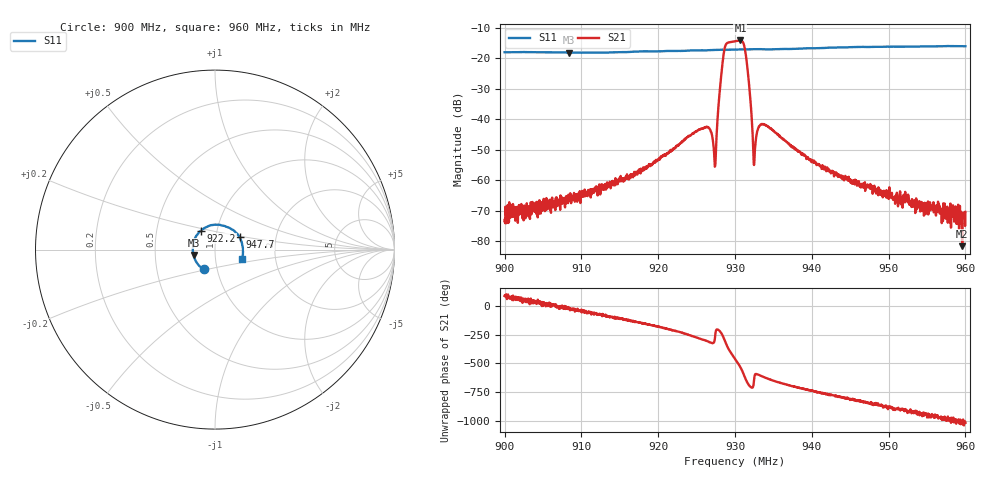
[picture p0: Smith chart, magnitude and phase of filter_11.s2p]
!Agilent Technologies,E5071C,MY46214392,A.11.36
!Date: Thu Feb 26 21:34:11 2026
!Data & Calibration Information:
!Freq	S11:NONE(--)	S21:NONE(--)	S12:NONE(--)	S22:NONE(--)
!PortZ  Port1:50+j0  Port2:50+j0
!Above PortZ is port z conversion or system Z0 setting when saving the data.
!When reading, reference impedance value at option line is always used.
# Hz S dB R 50
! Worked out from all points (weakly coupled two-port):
!   1601 points, 900 MHz to 960 MHz, reference 50 ohm
!   highest |S21| = -14.19 dB at 930.7 MHz (marker M1); lowest = -81.7 dB at 959.6 MHz (marker M2)
!   lowest |S11| = -18.2 dB at 908.4 MHz (marker M3), VSWR 1.28, Z = 39.3 - j2.41 ohm
!   |S11| at or under -10 dB: start of sweep to end of sweep
!   S12 and S22 are empty: the file has one direction only
!   S11 on the Smith chart (normalised r, x): 900 MHz: 0.86, -0.19; 922.2 MHz: 0.84, +0.18; 947.7 MHz: 1.30, +0.18; 960 MHz: 1.34, -0.14
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9e8  -18.06 -120.1  -73.50 88.4  -200.00 0.0  -200.00 0.0
9.084e8  -18.21 -165.8  -66.36 -26.9  -200.00 0.0  -200.00 0.0
9.100125e8  -18.19 -173.9  -65.11 -30.8  -200.00 0.0  -200.00 0.0
9.20025e8  -17.76 136.7  -53.22 -177.0  -200.00 0.0  -200.00 0.0
9.221625e8  -17.62 126.4  -49.63 145.7  -200.00 0.0  -200.00 0.0
9.262875e8  -17.44 108.5  -42.48 57.0  -200.00 0.0  -200.00 0.0
9.273375e8  -17.31 104.0  -53.25 56.4  -200.00 0.0  -200.00 0.0
9.275625e8  -17.29 103.0  -47.49 152.0  -200.00 0.0  -200.00 0.0
9.286125e8  -17.20 98.2  -17.25 67.4  -200.00 0.0  -200.00 0.0
9.29175e8  -17.23 95.8  -14.83 -16.4  -200.00 0.0  -200.00 0.0
9.3e8  -17.17 92.4  -14.45 -100.2  -200.00 0.0  -200.00 0.0
9.307125e8  -17.16 89.4  -14.19 -175.4  -200.00 0.0  -200.00 0.0
9.314625e8  -17.12 86.7  -19.90 70.2  -200.00 0.0  -200.00 0.0
9.322875e8  -17.06 83.2  -44.61 8.3  -200.00 0.0  -200.00 0.0
9.3255e8  -17.05 82.0  -52.38 110.4  -200.00 0.0  -200.00 0.0
9.331125e8  -17.05 79.6  -42.40 118.9  -200.00 0.0  -200.00 0.0
9.3375e8  -17.08 76.9  -41.70 99.5  -200.00 0.0  -200.00 0.0
9.400125e8  -16.74 54.6  -54.14 -17.4  -200.00 0.0  -200.00 0.0
9.477e8  -16.31 26.4  -62.92 -119.0  -200.00 0.0  -200.00 0.0
9.50025e8  -16.23 17.8  -66.20 -164.1  -200.00 0.0  -200.00 0.0
9.595875e8  -16.07 -17.6  -81.69 73.7  -200.00 0.0  -200.00 0.0
9.6e8  -16.09 -19.3  -70.46 60.1  -200.00 0.0  -200.00 0.0
